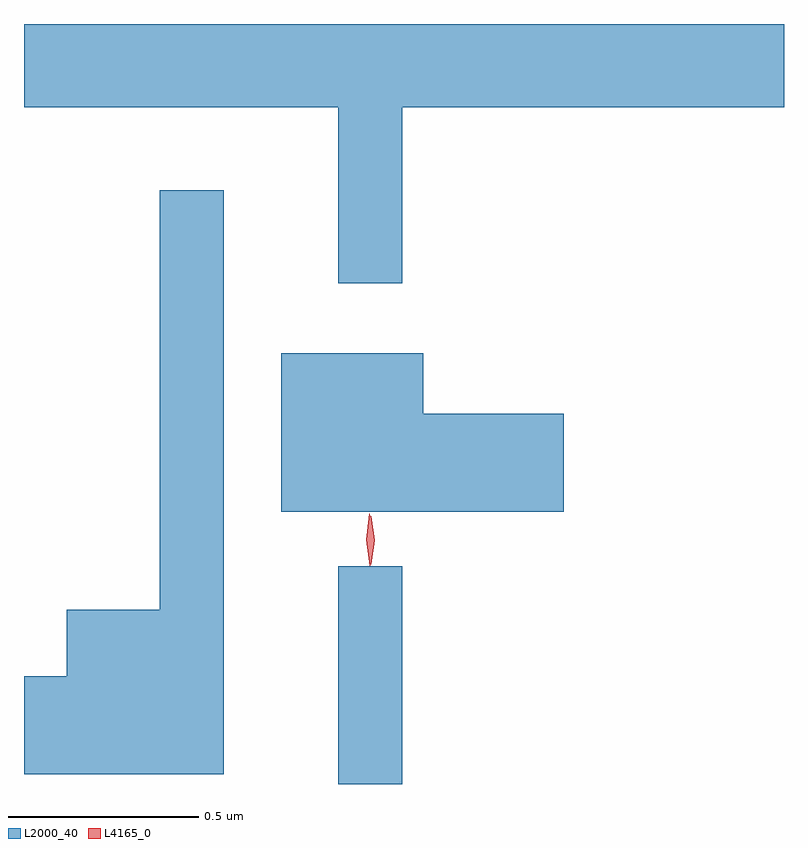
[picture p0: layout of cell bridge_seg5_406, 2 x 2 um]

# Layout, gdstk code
import gdstk
lib = gdstk.Library(unit=1e-6, precision=1e-09)
def R(c, l, rs):  # rectangles x0, y0, x1, y1
    for r in rs: c.add(gdstk.rectangle(r[:2], r[2:], *l))
def P(c, l, *ps):  # polygons
    for p in ps: c.add(gdstk.Polygon(p, *l))
L2000_40 = (2000, 40)
L4165_0 = (4165, 0)

bridge_seg5_406 = lib.new_cell('bridge_seg5_406')
R(bridge_seg5_406, L2000_40, [(572.691,1461.675,572.859,1462.248)])
P(bridge_seg5_406, L2000_40, [(572.859,1463.456),(573.864,1463.456),(573.864,1463.675),(571.864,1463.675),(571.864,1463.456),(572.691,1463.456),(572.691,1462.993),(572.859,1462.993)],
  [(572.389,1463.238),(572.221,1463.238),(572.221,1462.134),(571.976,1462.134),(571.976,1461.959),(571.864,1461.959),(571.864,1461.701),(572.389,1461.701)],
  [(573.284,1462.649),(572.914,1462.649),(572.914,1462.809),(572.541,1462.809),(572.541,1462.391),(573.284,1462.391)])
P(bridge_seg5_406, L4165_0, [(572.774,1462.25),(572.764,1462.318),(572.773,1462.386),(572.774,1462.386),(572.774,1462.386),(572.784,1462.318),(572.775,1462.25),(572.775,1462.25)],
  [(572.776,1462.253),(572.767,1462.316),(572.776,1462.379),(572.777,1462.38),(572.778,1462.379),(572.787,1462.316),(572.778,1462.253),(572.777,1462.253)])

lib.write_gds('bridge_seg5_406.gds')
